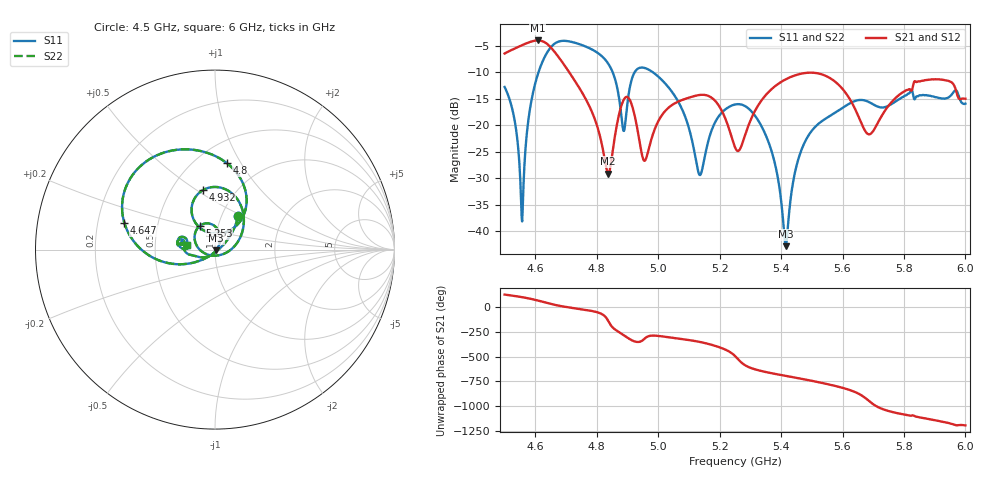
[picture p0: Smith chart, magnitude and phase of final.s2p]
! TOUCHSTONE file generated by CST MICROWAVE STUDIO
! Date and time: Thu Jan  2 16:06:08 2025
! Project name: final.cst
! Parameters = {airCoaxOuterDiameter=3; chamferAngle=45; chamferWidth=23; connectorLength=10; drillingHoleDiameter=4.1; feedLength=60; flareDiameter=130; flareLength=70; gratingDistance=0; gratingGap=1.90274; outletLength=30; polarizerLength=126; probe1Diameter=1.3; probe1Distance=14; probe1Length=1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
! Header version: 2024
! Port assignment regex: !\s*Touchstone port\s*([0-9]+)\s*=\s*(CST MWS port|CST DES external port|CST DES block port)\s*(.+)\s* \(\"(.*)\"\)(\s*mode\s*([0-9]+))?.*
! Touchstone port assignment:
! Touchstone port 1 = CST MWS port 1 ("Input1")
! Touchstone port 2 = CST MWS port 2 ("Input2")
# GHz S MA R 50
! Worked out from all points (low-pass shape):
!   1001 points, 4.5 GHz to 6 GHz, reference 50 ohm
!   highest |S21| = -4.03 dB at 4.608 GHz (marker M1); lowest = -29.1 dB at 4.838 GHz (marker M2)
!   |S21| within 3 dB of the highest: start of sweep to 4.674 GHz
!   lowest |S11| = -42.8 dB at 5.415 GHz (marker M3), VSWR 1.01, Z = 50.6 - j0.434 ohm
!   |S11| at or under -10 dB: start of sweep to 4.61 GHz; 4.852 GHz to 4.924 GHz (72.08 MHz wide, 1.47 % of centre); 4.982 GHz to end of sweep
!   |S22| runs from -42.8 to -4.1 dB; largest |S21 - S12| = 2e-06
!   S11 on the Smith chart (normalised r, x): 4.5 GHz: 1.20, +0.47; 4.647 GHz: 0.32, +0.13; 4.8 GHz: 0.69, +0.87; 4.932 GHz: 0.71, +0.53; 5.253 GHz: 0.82, +0.22; 6 GHz: 0.73, +0.04
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4.5  0.2288 55.2  0.4732 122.2  0.4732 122.2  0.2288 55.2
4.533  0.1092 41.6  0.5276 107.6  0.5276 107.6  0.1092 41.6
4.557  0.01235 -57.7  0.5677 95.7  0.5677 95.7  0.01235 -57.7
4.608  0.3005 -167.1  0.6285 62.5  0.6285 62.5  0.3005 -167.1
4.647  0.5264 163.6  0.5533 30.5  0.5533 30.5  0.5264 163.6
4.7505  0.5704 102.7  0.2067 -25.4  0.2067 -25.4  0.5704 102.7
4.8  0.4862 82.2  0.1005 -54.3  0.1005 -54.3  0.4862 82.2
4.8375  0.3791 64.0  0.03492 -144.0  0.03492 -144.0  0.3791 64.0
4.887  0.08837 82.7  0.1718 75.9  0.1718 75.9  0.08837 82.7
4.932  0.3377 101.7  0.0925 6.1  0.0925 6.1  0.3377 101.7
4.956  0.3457 83.7  0.04608 40.5  0.04608 40.5  0.3457 83.7
5.001  0.2854 59.7  0.1099 66.8  0.1099 66.8  0.2854 59.7
5.136  0.03379 -89.3  0.1926 6.3  0.1926 6.3  0.03379 -89.3
5.25  0.1565 124.8  0.06181 -134.5  0.06181 -134.5  0.1565 124.8
5.253  0.1571 123.0  0.05926 -143.7  0.05927 -143.7  0.1571 123.0
5.358  0.07052 65.4  0.2032 59.4  0.2032 59.4  0.07052 65.4
5.415  0.007214 -36.5  0.2702 25.8  0.2702 25.8  0.007213 -36.5
5.4495  0.04051 -128.9  0.2972 6.3  0.2972 6.3  0.0405 -128.9
5.5005  0.08885 -151.1  0.3123 -23.9  0.3123 -23.9  0.08885 -151.1
5.6835  0.1663 170.8  0.08226 141.0  0.08226 141.0  0.1663 170.8
5.751  0.1529 177.5  0.154 32.1  0.154 32.1  0.1529 177.5
6  0.1594 171.2  0.1774 -111.8  0.1774 -111.8  0.1594 171.2
